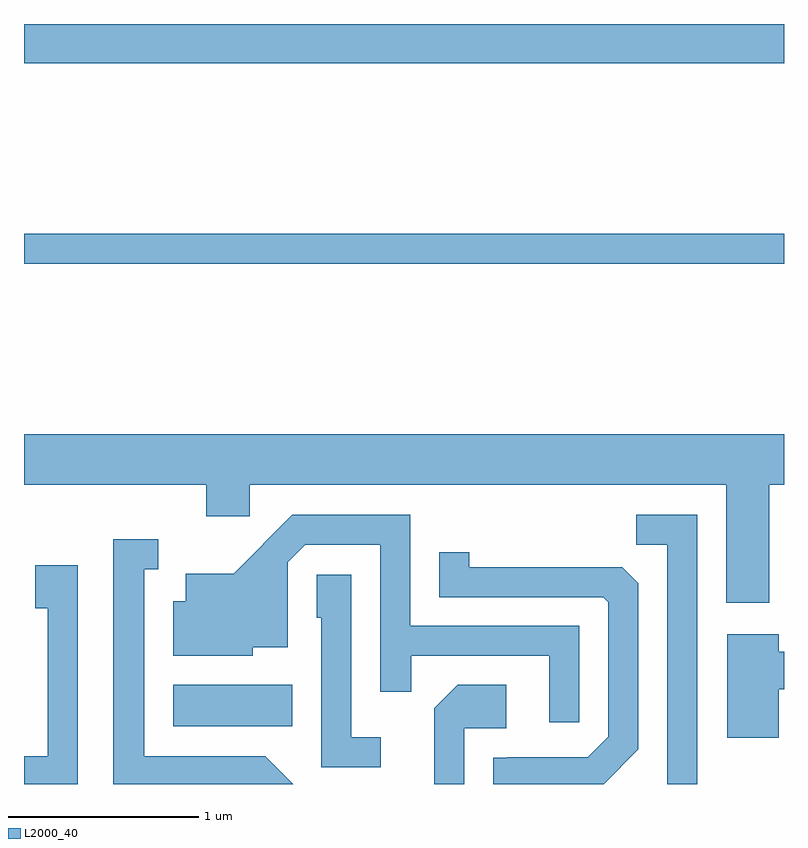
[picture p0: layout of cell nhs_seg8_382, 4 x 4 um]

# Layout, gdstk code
import gdstk
lib = gdstk.Library(unit=1e-6, precision=1e-09)
def R(c, l, rs):  # rectangles x0, y0, x1, y1
    for r in rs: c.add(gdstk.rectangle(r[:2], r[2:], *l))
def P(c, l, *ps):  # polygons
    for p in ps: c.add(gdstk.Polygon(p, *l))
L2000_40 = (2000, 40)

nhs_seg8_382 = lib.new_cell('nhs_seg8_382')
R(nhs_seg8_382, L2000_40, [(196.396,1890.646,197.024,1890.864), (195.611,1893.081,199.611,1893.239), (195.611,1894.136,199.611,1894.342)])
P(nhs_seg8_382, L2000_40, [(199.534,1891.916),(199.611,1891.916),(199.611,1892.184),(195.611,1892.184),(195.611,1891.916),(196.571,1891.916),(196.571,1891.751),(196.799,1891.751),(196.799,1891.916),(199.306,1891.916),(199.306,1891.296),(199.534,1891.296)],
  [(198.534,1891.174),(197.644,1891.174),(197.644,1891.759),(197.024,1891.759),(196.714,1891.449),(196.461,1891.449),(196.461,1891.304),(196.396,1891.304),(196.396,1891.016),(196.814,1891.016),(196.814,1891.061),(196.999,1891.061),(196.999,1891.509),(197.092,1891.601),(197.486,1891.601),(197.486,1890.828),(197.649,1890.828),(197.649,1891.016),(198.376,1891.016),(198.376,1890.668),(198.534,1890.668)],
  [(199.154,1891.759),(198.833,1891.759),(198.833,1891.601),(198.996,1891.601),(198.996,1890.342),(199.154,1890.342)],
  [(196.882,1890.489),(196.244,1890.489),(196.244,1891.471),(196.318,1891.471),(196.318,1891.629),(196.081,1891.629),(196.081,1890.342),(197.029,1890.342)],
  [(198.844,1890.524),(198.844,1891.399),(198.759,1891.484),(197.954,1891.484),(197.954,1891.563),(197.796,1891.563),(197.796,1891.326),(198.659,1891.326),(198.686,1891.299),(198.686,1890.592),(198.579,1890.484),(198.154,1890.484),(198.149,1890.479),(198.081,1890.479),(198.081,1890.342),(198.662,1890.342)],
  [(195.894,1891.494),(195.671,1891.494),(195.671,1891.266),(195.736,1891.266),(195.736,1890.489),(195.611,1890.489),(195.611,1890.342),(195.894,1890.342)],
  [(197.488,1890.589),(197.334,1890.589),(197.334,1891.444),(197.151,1891.444),(197.151,1891.216),(197.176,1891.216),(197.176,1890.431),(197.488,1890.431)],
  [(199.584,1890.841),(199.611,1890.841),(199.611,1891.039),(199.584,1891.039),(199.584,1891.129),(199.311,1891.129),(199.311,1890.586),(199.584,1890.586)],
  [(197.929,1890.636),(198.149,1890.636),(198.149,1890.864),(197.894,1890.864),(197.771,1890.742),(197.771,1890.342),(197.929,1890.342)])

lib.write_gds('nhs_seg8_382.gds')
